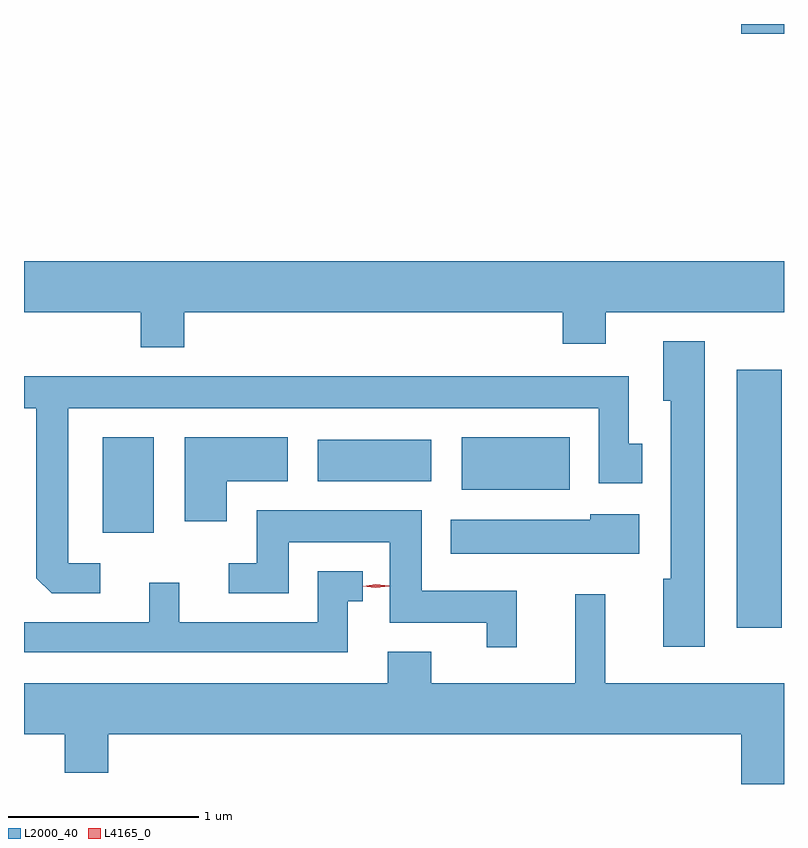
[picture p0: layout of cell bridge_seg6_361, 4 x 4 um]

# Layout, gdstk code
import gdstk
lib = gdstk.Library(unit=1e-6, precision=1e-09)
def R(c, l, rs):  # rectangles x0, y0, x1, y1
    for r in rs: c.add(gdstk.rectangle(r[:2], r[2:], *l))
def P(c, l, *ps):  # polygons
    for p in ps: c.add(gdstk.Polygon(p, *l))
L2000_40 = (2000, 40)
L4165_0 = (4165, 0)

bridge_seg6_361 = lib.new_cell('bridge_seg6_361')
R(bridge_seg6_361, L2000_40, [(973.056,1652.716,973.294,1654.074), (969.721,1653.216,969.989,1653.719), (971.611,1653.441,972.179,1653.719), (970.851,1653.486,971.449,1653.704), (973.081,1655.841,973.306,1655.893)])
P(bridge_seg6_361, L2000_40, [(970.149,1654.376),(972.141,1654.376),(972.141,1654.211),(972.369,1654.211),(972.369,1654.376),(973.306,1654.376),(973.306,1654.644),(969.306,1654.644),(969.306,1654.376),(969.921,1654.376),(969.921,1654.191),(970.149,1654.191)],
  [(972.889,1654.224),(972.671,1654.224),(972.671,1653.911),(972.711,1653.911),(972.711,1652.974),(972.671,1652.974),(972.671,1652.616),(972.889,1652.616)],
  [(969.708,1653.054),(969.539,1653.054),(969.539,1653.871),(972.331,1653.871),(972.331,1653.476),(972.559,1653.476),(972.559,1653.684),(972.489,1653.684),(972.489,1654.039),(969.306,1654.039),(969.306,1653.871),(969.371,1653.871),(969.371,1652.977),(969.452,1652.896),(969.708,1652.896)],
  [(970.374,1653.486),(970.694,1653.486),(970.694,1653.719),(970.151,1653.719),(970.151,1653.276),(970.374,1653.276)],
  [(971.899,1652.909),(971.399,1652.909),(971.399,1653.334),(970.531,1653.334),(970.531,1653.054),(970.383,1653.054),(970.383,1652.896),(970.699,1652.896),(970.699,1653.166),(971.231,1653.166),(971.231,1652.741),(971.741,1652.741),(971.741,1652.613),(971.899,1652.613)],
  [(972.544,1653.314),(972.286,1653.314),(972.286,1653.284),(971.551,1653.284),(971.551,1653.106),(972.544,1653.106)],
  [(971.009,1652.856),(971.088,1652.856),(971.088,1653.014),(970.851,1653.014),(970.851,1652.744),(970.124,1652.744),(970.124,1652.953),(969.966,1652.953),(969.966,1652.744),(969.306,1652.744),(969.306,1652.586),(971.009,1652.586)],
  [(973.306,1652.424),(972.364,1652.424),(972.364,1652.893),(972.206,1652.893),(972.206,1652.424),(971.449,1652.424),(971.449,1652.589),(971.221,1652.589),(971.221,1652.424),(969.306,1652.424),(969.306,1652.156),(969.521,1652.156),(969.521,1651.951),(969.749,1651.951),(969.749,1652.156),(973.081,1652.156),(973.081,1651.893),(973.306,1651.893)])
P(bridge_seg6_361, L4165_0, [(971.158,1652.925),(971.089,1652.934),(971.089,1652.935),(971.089,1652.935),(971.158,1652.945),(971.228,1652.936),(971.228,1652.936),(971.228,1652.935)])

lib.write_gds('bridge_seg6_361.gds')
